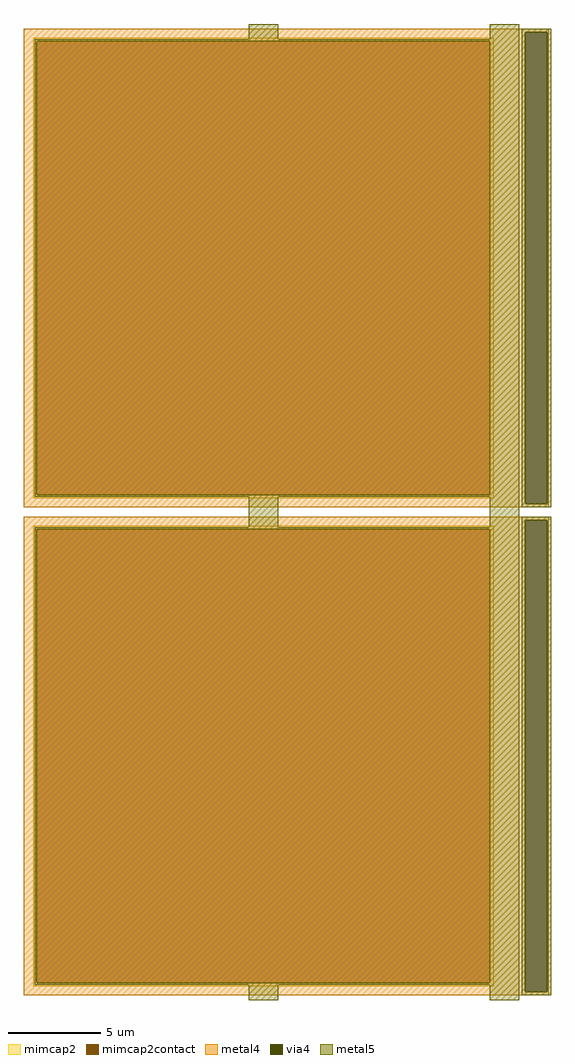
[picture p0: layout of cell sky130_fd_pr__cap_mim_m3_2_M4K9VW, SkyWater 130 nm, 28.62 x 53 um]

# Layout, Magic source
magic
tech sky130A
magscale 1 2
<< metal4 >>
rect -2851 5209 2851 5250
rect -2851 91 2595 5209
rect 2831 91 2851 5209
rect -2851 50 2851 91
rect -2851 -91 2851 -50
rect -2851 -5209 2595 -91
rect 2831 -5209 2851 -91
rect -2851 -5250 2851 -5209
<< via4 >>
rect 2595 91 2831 5209
rect 2595 -5209 2831 -91
<< mimcap2 >>
rect -2751 5110 2249 5150
rect -2751 190 -2711 5110
rect 2209 190 2249 5110
rect -2751 150 2249 190
rect -2751 -190 2249 -150
rect -2751 -5110 -2711 -190
rect 2209 -5110 2249 -190
rect -2751 -5150 2249 -5110
<< mimcap2contact >>
rect -2711 190 2209 5110
rect -2711 -5110 2209 -190
<< metal5 >>
rect -411 5134 -91 5300
rect 2209 5134 2529 5300
rect -2735 5110 2529 5134
rect -2735 190 -2711 5110
rect 2209 190 2529 5110
rect -2735 166 2529 190
rect -411 -166 -91 166
rect 2209 -166 2529 166
rect 2553 5209 2873 5251
rect 2553 91 2595 5209
rect 2831 91 2873 5209
rect 2553 49 2873 91
rect -2735 -190 2529 -166
rect -2735 -5110 -2711 -190
rect 2209 -5110 2529 -190
rect -2735 -5134 2529 -5110
rect -411 -5300 -91 -5134
rect 2209 -5300 2529 -5134
rect 2553 -91 2873 -49
rect 2553 -5209 2595 -91
rect 2831 -5209 2873 -91
rect 2553 -5251 2873 -5209
<< properties >>
string FIXED_BBOX -2851 50 2349 5250
string gencell sky130_fd_pr__cap_mim_m3_2
string library sky130
string parameters w 25 l 25 val 1.269k carea 2.00 cperi 0.19 nx 1 ny 2 dummy 0 square 0 lmin 2.00 wmin 2.00 lmax 30.0 wmax 30.0 dc 0 bconnect 1 tconnect 1 ccov 100
<< end >>
